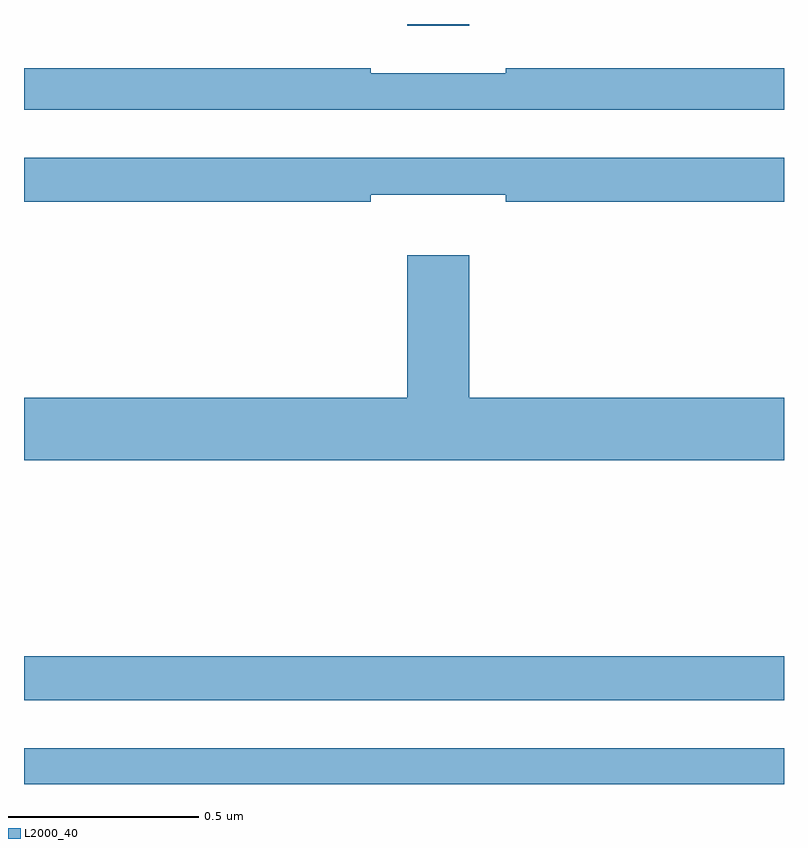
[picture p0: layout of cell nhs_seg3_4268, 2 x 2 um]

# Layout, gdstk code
import gdstk
lib = gdstk.Library(unit=1e-6, precision=1e-09)
def R(c, l, rs):  # rectangles x0, y0, x1, y1
    for r in rs: c.add(gdstk.rectangle(r[:2], r[2:], *l))
def P(c, l, *ps):  # polygons
    for p in ps: c.add(gdstk.Polygon(p, *l))
L2000_40 = (2000, 40)

nhs_seg3_4268 = lib.new_cell('nhs_seg3_4268')
R(nhs_seg3_4268, L2000_40, [(164,697.4,166,697.494), (164,697.62,166,697.736), (165.008,699.396,165.172,699.4)])
P(nhs_seg3_4268, L2000_40, [(166,699.283),(165.268,699.283),(165.268,699.27),(164.912,699.27),(164.912,699.283),(164,699.283),(164,699.174),(166,699.174)],
  [(164.912,698.951),(165.268,698.951),(165.268,698.932),(166,698.932),(166,699.048),(164,699.048),(164,698.932),(164.912,698.932)],
  [(166,698.416),(165.172,698.416),(165.172,698.791),(165.008,698.791),(165.008,698.416),(164,698.416),(164,698.252),(166,698.252)])

lib.write_gds('nhs_seg3_4268.gds')
